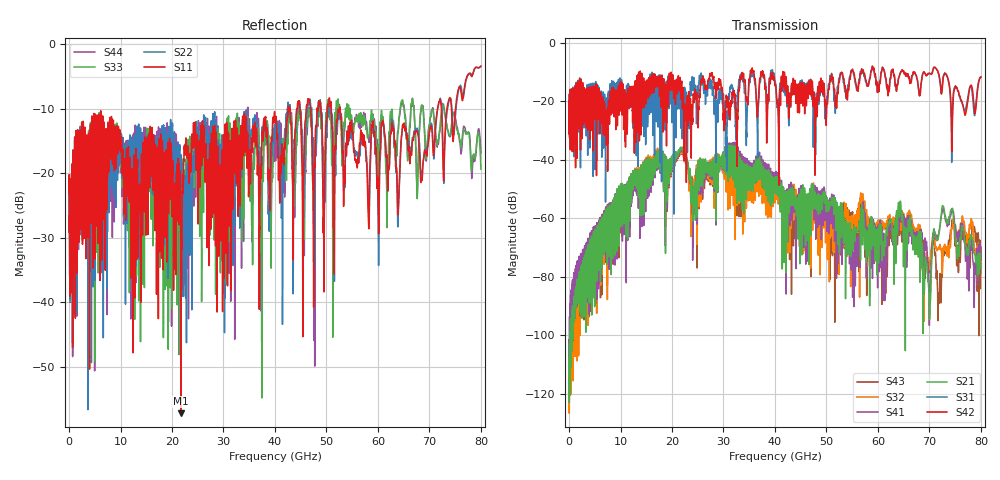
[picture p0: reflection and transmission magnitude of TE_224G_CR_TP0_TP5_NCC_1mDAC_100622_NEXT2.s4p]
!! Reference: tracy_3df_01_2211
!! CHANNEL DESCRIPTION: TP0_TP5 CR Channel using 1meter DAC, Near Chip Connector Host
!! MODEL DESCRIPTION: s4p, NEXT2
!! CONNECTOR DESCRIPTION: OSFP 200G OTB
!! CABLE DESCRIPTION: 1meter 26AWG Cable
!! MODEL STATUS: Developmental
!! PORT DEFINITIONS:
!! Port  1  ----->  Side A  Side B  <-----  Port  2
!! Port  3  ----->  Side A  Side B  <-----  Port  4
# Hz S MA R 50
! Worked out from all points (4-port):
!   8000 points, 10 MHz to 80 GHz, reference 50 ohm
!   strongest paths, dB at 10 MHz, 20.01 GHz, 40.01 GHz, 60.01 GHz, 80 GHz:
!     S42: -24.5, -15.1, -14.6, -14.7, -11.7
!     S31: -24.5, -26.2, -13.4, -14.6, -11.7
!     S21: -107.5, -40.8, -51.5, -63.7, -76.8
!     S41: -101.5, -41.7, -47.2, -68.0, -74.2
!     S32: -119.8, -40.7, -52.5, -62.4, -76.3
!     S43: -108.1, -41.6, -51.1, -64.6, -69.8
!   lowest |S11| = -57.2 dB at 21.72 GHz (marker M1), VSWR 1.00, Z = 49.9 + j0.124 ohm
!   |S11| at or under -10 dB: start of sweep to 42.53 GHz; 50.93 GHz to 52.53 GHz (1.595 GHz wide, 3.08 % of centre); 52.64 GHz to 71.57 GHz (18.93 GHz wide, 30.5 % of centre)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
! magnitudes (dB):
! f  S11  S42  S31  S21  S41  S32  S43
! 10 MHz  -23.1  -24.5  -24.5  -107.5  -101.5  -119.8  -108.1
! 21.72 GHz  -57.2  -18.2  -28.3  -36.6  -37.2  -37.5  -38.0
! 55.23 GHz  -15.2  -10.0  -10.7  -64.3  -73.6  -60.2  -66.8
! 64.27 GHz  -19.0  -10.6  -10.6  -55.1  -58.1  -57.3  -63.8
! 70 GHz  -13.7  -10.4  -10.4  -92.8  -95.9  -75.4  -78.6
! 72.69 GHz  -19.7  -11.9  -11.5  -55.8  -57.0  -70.2  -70.1
! 80 GHz  -3.4  -11.7  -11.7  -76.8  -74.2  -76.3  -69.8
